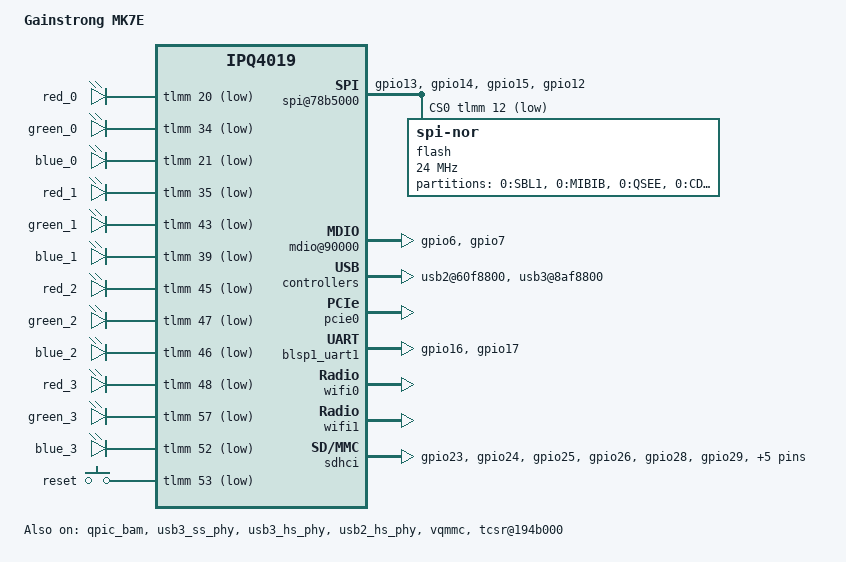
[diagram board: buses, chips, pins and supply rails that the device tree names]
// SPDX-License-Identifier: GPL-2.0-or-later OR MIT

#include "qcom-ipq4019.dtsi"
#include <dt-bindings/gpio/gpio.h>
#include <dt-bindings/input/input.h>
#include <dt-bindings/soc/qcom,tcsr.h>

/ {
	model = "Gainstrong MK7E";
	compatible = "gainstrong,mk7e","qcom,ipq4019";

	soc {
		spi@78b5000 {
			pinctrl-0 = <&spi_0_pins>;
			pinctrl-names = "default";
			status = "okay";
			cs-gpios = <&tlmm 12 GPIO_ACTIVE_LOW>;

			flash@0 {
				reg = <0>;
				compatible = "jedec,spi-nor";
				spi-max-frequency = <24000000>;
				broken-flash-reset;

				partitions {
					compatible = "fixed-partitions";
					#address-cells = <1>;
					#size-cells = <1>;

					partition@0 {
						label = "0:SBL1";
						reg = <0x0 0x40000>;
						read-only;
					};
					partition@40000 {
						label = "0:MIBIB";
						reg = <0x40000 0x20000>;
						read-only;
					};
					partition@60000 {
						label = "0:QSEE";
						reg = <0x60000 0x60000>;
						read-only;
					};
					partition@c0000 {
						label = "0:CDT";
						reg = <0xc0000 0x10000>;
						read-only;
					};
					partition@d0000 {
						label = "0:DDRPARAMS";
						reg = <0xd0000 0x10000>;
						read-only;
					};
					partition@e0000 {
						label = "0:APPSBLENV";
						reg = <0xe0000 0x10000>;
					};
					partition@f0000 {
						label = "0:APPSBL";
						reg = <0xf0000 0x80000>;
					};
					partition@170000 {
						label = "0:ART";
						reg = <0x170000 0x10000>;
					};
					firmware: partition@180000 {
						compatible = "denx,fit";
						label = "firmware";
						reg = <0x180000 0x1e80000>;
					};
				};
			};
		};


		rng@22000 {
			status = "okay";
		};

		mdio@90000 {
			status = "okay";
			pinctrl-0 = <&mdio_pins>;
			pinctrl-names = "default";
		};

		ess-psgmii@98000 {
			status = "okay";
		};

		tcsr@1949000 {
			compatible = "qcom,tcsr";
			reg = <0x1949000 0x100>;
			qcom,wifi_glb_cfg = <TCSR_WIFI_GLB_CFG>;
		};

		tcsr@194b000 {
			compatible = "qcom,tcsr";
			reg = <0x194b000 0x100>;
			qcom,usb-hsphy-mode-select = <TCSR_USB_HSPHY_HOST_MODE>;
			status = "okay";
		};

		ess_tcsr@1953000 {
			compatible = "qcom,tcsr";
			reg = <0x1953000 0x1000>;
			qcom,ess-interface-select = <TCSR_ESS_PSGMII>;
		};

		tcsr@1957000 {
			compatible = "qcom,tcsr";
			reg = <0x1957000 0x100>;
			qcom,wifi_noc_memtype_m0_m2 = <TCSR_WIFI_NOC_MEMTYPE_M0_M2>;
		};

		usb2@60f8800 {
			status = "okay";

			dwc3@6000000 {
				#address-cells = <1>;
				#size-cells = <0>;

				port@1 {
					reg = <1>;
					#trigger-source-cells = <0>;
				};
			};
		};

		usb3@8af8800 {
			status = "okay";

			dwc3@8a00000 {
				#address-cells = <1>;
				#size-cells = <0>;

				port@1 {
					reg = <1>;
					#trigger-source-cells = <0>;
				};

				port@2 {
					reg = <2>;
					#trigger-source-cells = <0>;
				};
			};
		};

		watchdog@b017000 {
			status = "okay";
		};

		ess-switch@c000000 {
			status = "okay";
		};

		edma@c080000 {
			status = "okay";
		};

		aliases {
			serial0 = &blsp1_uart1;
		};

		leds {
			compatible = "gpio-leds";

			red0   { label = "red_0";   gpios = <&tlmm 20 GPIO_ACTIVE_LOW>; };
			green0 { label = "green_0"; gpios = <&tlmm 34 GPIO_ACTIVE_LOW>; };
			blue0  { label = "blue_0";  gpios = <&tlmm 21 GPIO_ACTIVE_LOW>; };

			red1   { label = "red_1";   gpios = <&tlmm 35 GPIO_ACTIVE_LOW>; };
			green1 { label = "green_1"; gpios = <&tlmm 43 GPIO_ACTIVE_LOW>; };
			blue1  { label = "blue_1";  gpios = <&tlmm 39 GPIO_ACTIVE_LOW>; };

			red2   { label = "red_2";   gpios = <&tlmm 45 GPIO_ACTIVE_LOW>; };
			green2 { label = "green_2"; gpios = <&tlmm 47 GPIO_ACTIVE_LOW>; };
			blue2  { label = "blue_2";  gpios = <&tlmm 46 GPIO_ACTIVE_LOW>; };

			red3   { label = "red_3";   gpios = <&tlmm 48 GPIO_ACTIVE_LOW>; };
			green3 { label = "green_3"; gpios = <&tlmm 57 GPIO_ACTIVE_LOW>; };
			blue3  { label = "blue_3";  gpios = <&tlmm 52 GPIO_ACTIVE_LOW>; };
		};

		keys {
			compatible = "gpio-keys";

			reset {
				label = "reset";
				gpios = <&tlmm 53 GPIO_ACTIVE_LOW>;
				linux,code = <KEY_RESTART>;
			};
		};

		pcie0: pci@40000000 {
			status = "okay";
			perst-gpio = <&tlmm 38 GPIO_ACTIVE_LOW>;
			wake-gpio = <&tlmm 50 GPIO_ACTIVE_LOW>;
		};
	};
};

&blsp_dma {
	status = "okay";
};

&blsp1_uart1 {
	pinctrl-0 = <&serial_0_pins>;
	pinctrl-names = "default";
	status = "okay";
};

&qpic_bam {
	status = "okay";
};

&tlmm {
	mdio_pins: mdio_pinmux {
		mux_1 {
			pins = "gpio6";
			function = "mdio";
			bias-pull-up;
		};
		mux_2 {
			pins = "gpio7";
			function = "mdc";
			bias-pull-up;
		};
	};

	serial_0_pins: serial0-pinmux {
		mux {
			pins = "gpio16", "gpio17";
			function = "blsp_uart0";
			bias-disable;
		};
	};

	spi_0_pins: spi_0_pinmux {
		pinmux {
			function = "blsp_spi0";
			pins = "gpio13", "gpio14", "gpio15";
			drive-strength = <12>;
			bias-disable;
		};

		pinmux_cs {
			function = "gpio";
			pins = "gpio12";
			drive-strength = <2>;
			bias-disable;
			output-high;
		};
	};

	led_pins: led_pinmux {
		mux {
			function = "gpio";
			pins = "gpio68";
			bias-disabled;
			output-low;
		};
	};

	sd_pins: sd_pins {
		pinmux {
			function = "sdio";
			pins = "gpio23", "gpio24", "gpio25", "gpio26",
				"gpio28", "gpio29", "gpio30", "gpio31";
			drive-strength = <10>;
		};

		pinmux_sd_clk {
			function = "sdio";
			pins = "gpio27";
			drive-strength = <16>;
		};

		pinmux_sd7 {
			function = "sdio";
			pins = "gpio32";
			drive-strength = <10>;
			bias-disable;
		};
	};
};

&usb3_ss_phy {
	status = "okay";
};

&usb3_hs_phy {
	status = "okay";
};

&usb2_hs_phy {
	status = "okay";
};

&wifi0 {
	status = "okay";
};

&wifi1 {
	status = "okay";
};

&vqmmc {
	status = "okay";
};

&sdhci {
	status = "okay";

	pinctrl-0 = <&sd_pins>;
	pinctrl-names = "default";
	cd-gpios = <&tlmm 22 GPIO_ACTIVE_LOW>;
	vqmmc-supply = <&vqmmc>;
};
